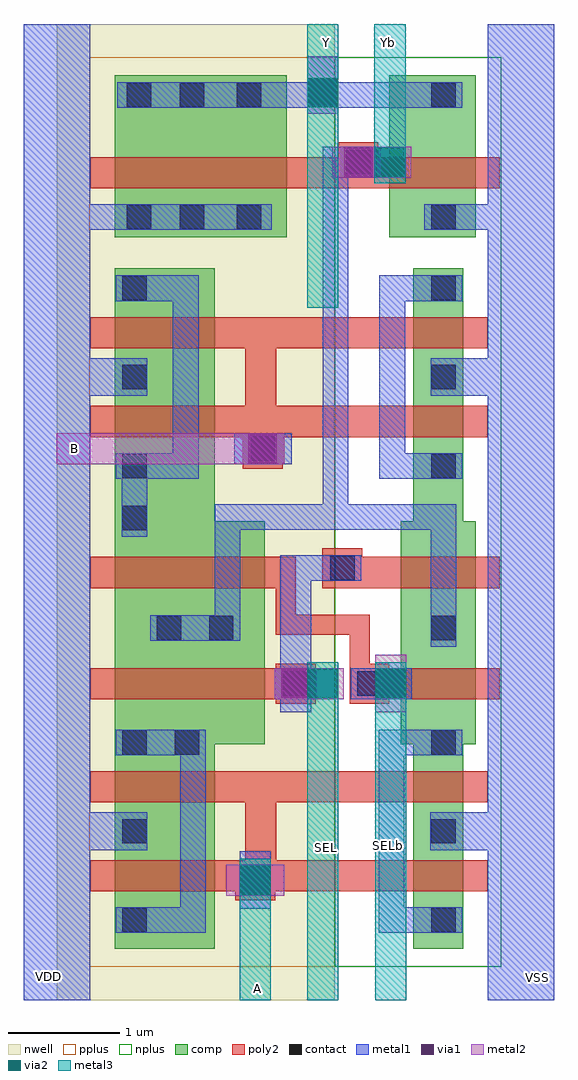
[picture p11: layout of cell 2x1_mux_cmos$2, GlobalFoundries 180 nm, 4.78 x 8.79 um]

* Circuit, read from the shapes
.subckt 2x1_mux_cmos$2 A B SEL SELb VDD VSS Y Yb
XM1 Y Yb VSS VSUBS nfet_03v3 w=0.775u l=0.28u
XM2 Yb SELb n1 VSUBS nfet_03v3 w=0.675u l=0.28u
XM3 n2 SEL Yb VSUBS nfet_03v3 w=0.675u l=0.28u
XM4 VSS A n1 VSUBS nfet_03v3 w=0.45u l=0.28u m=2
XM5 VSS B n2 VSUBS nfet_03v3 w=0.45u l=0.28u m=2
XM6 VDD A n3 n4 pfet_03v3 w=0.9u l=0.28u m=2
XM7 Yb SEL n3 n4 pfet_03v3 w=1.35u l=0.28u
XM8 n5 SELb Yb n4 pfet_03v3 w=1.35u l=0.28u
XM9 VDD B n5 n4 pfet_03v3 w=0.9u l=0.28u m=2
XM10 Y Yb VDD n4 pfet_03v3 w=1.55u l=0.28u
.ends

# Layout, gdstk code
import gdstk
lib = gdstk.Library(unit=1e-6, precision=5e-09)
def R(c, l, rs):  # rectangles x0, y0, x1, y1
    for r in rs: c.add(gdstk.rectangle(r[:2], r[2:], *l))
def A(c, l, x, y, w, h, nx, ny, dx, dy):  # array of equal rectangles
    R(c, l, [(x+i*dx, y+j*dy, x+i*dx+w, y+j*dy+h) for i in range(nx) for j in range(ny)])
nwell = (21, 0)
comp = (22, 0)
poly2 = (30, 0)
pplus = (31, 0)
nplus = (32, 0)
contact = (33, 0)
metal1 = (34, 0)
via1 = (35, 0)
metal2 = (36, 0)
via2 = (38, 0)
metal3 = (42, 0)

c_2x1_mux_cmos_2 = lib.new_cell('2x1_mux_cmos$2')
R(c_2x1_mux_cmos_2, nwell, [(-9.945,-39.115,-7.445,-30.325)])
R(c_2x1_mux_cmos_2, comp, [(-9.425,-38.655,-8.525,-32.525), (-6.735,-38.655,-6.285,-32.525), (-9.425,-36.81,-8.075,-34.805), (-6.85,-36.81,-6.175,-34.805), (-9.425,-32.245,-7.875,-30.785), (-6.95,-32.245,-6.175,-30.785)])
R(c_2x1_mux_cmos_2, poly2, [(-8.34,-38.215,-7.98,-37.855), (-9.645,-38.135,-6.065,-37.855), (-8.25,-37.855,-7.97,-37.335), (-9.645,-37.335,-6.065,-37.055), (-7.975,-36.445,-7.615,-36.085), (-7.31,-36.445,-6.95,-36.085), (-9.645,-36.405,-7.975,-36.125), (-6.95,-36.405,-5.955,-36.125), (-7.31,-36.085,-7.13,-35.825), (-7.975,-35.825,-7.13,-35.645), (-7.975,-35.645,-7.795,-35.405), (-9.645,-35.405,-7.795,-35.125), (-7.555,-35.405,-7.195,-35.045), (-7.195,-35.405,-5.955,-35.125), (-8.27,-34.33,-7.91,-33.97), (-9.645,-34.045,-6.065,-33.765), (-8.25,-33.765,-7.97,-33.245), (-9.645,-33.245,-6.065,-32.965), (-9.645,-31.805,-5.955,-31.525), (-7.41,-31.75,-7.05,-31.39)])
R(c_2x1_mux_cmos_2, pplus, [(-9.655,-38.815,-7.445,-30.625)])
R(c_2x1_mux_cmos_2, nplus, [(-7.445,-38.815,-5.945,-30.625)])
A(c_2x1_mux_cmos_2, contact, -9.355, -38.505, 0.22, 0.22, 1, 3, 0, 0.8)
A(c_2x1_mux_cmos_2, contact, -6.575, -38.505, 0.22, 0.22, 1, 3, 0, 0.8)
A(c_2x1_mux_cmos_2, contact, -9.355, -34.415, 0.22, 0.22, 1, 3, 0, 0.8)
A(c_2x1_mux_cmos_2, contact, -6.575, -34.415, 0.22, 0.22, 1, 3, 0, 0.8)
R(c_2x1_mux_cmos_2, contact, [(-8.27,-38.145,-8.05,-37.925), (-8.885,-36.905,-8.665,-36.685), (-7.905,-36.375,-7.685,-36.155), (-7.24,-36.375,-7.02,-36.155), (-9.045,-35.875,-8.825,-35.655), (-8.575,-35.875,-8.355,-35.655), (-6.575,-35.875,-6.355,-35.655), (-7.485,-35.335,-7.265,-35.115), (-9.355,-34.885,-9.135,-34.665), (-8.2,-34.26,-7.98,-34.04), (-9.315,-32.175,-9.095,-31.955), (-8.84,-32.175,-8.62,-31.955), (-8.325,-32.175,-8.105,-31.955), (-6.575,-32.175,-6.355,-31.955), (-7.34,-31.68,-7.12,-31.46), (-9.315,-31.075,-9.095,-30.855), (-8.84,-31.075,-8.62,-30.855), (-8.325,-31.075,-8.105,-30.855), (-6.575,-31.075,-6.355,-30.855)])
R(c_2x1_mux_cmos_2, metal1, [(-10.245,-39.115,-9.645,-30.325), (-6.065,-39.115,-5.465,-30.325), (-9.415,-38.51,-8.835,-38.28), (-8.835,-38.51,-8.605,-36.68), (-7.045,-38.51,-6.815,-36.68), (-6.815,-38.51,-6.295,-38.28), (-8.3,-38.295,-8.02,-37.775), (-9.645,-37.765,-9.13,-37.425), (-6.585,-37.765,-6.065,-37.425), (-9.415,-36.91,-8.835,-36.68), (-6.815,-36.91,-6.295,-36.68), (-7.935,-36.525,-7.655,-35.11), (-7.985,-36.405,-7.605,-36.125), (-7.3,-36.405,-6.75,-36.125), (-6.58,-35.935,-6.35,-34.65), (-9.105,-35.88,-8.295,-35.65), (-8.525,-35.65,-8.295,-34.65), (-7.655,-35.34,-7.205,-35.11), (-9.36,-34.945,-9.13,-34.42), (-8.525,-34.88,-6.58,-34.65), (-7.55,-34.65,-7.32,-31.71), (-9.415,-34.42,-8.9,-34.19), (-8.9,-34.42,-8.67,-32.59), (-7.04,-34.42,-6.81,-32.59), (-6.81,-34.42,-6.295,-34.19), (-8.35,-34.29,-7.83,-34.01), (-9.645,-33.675,-9.13,-33.335), (-6.58,-33.675,-6.065,-33.335), (-9.415,-32.82,-8.9,-32.59), (-6.81,-32.82,-6.295,-32.59), (-9.645,-32.18,-8.01,-31.95), (-6.635,-32.18,-6.065,-31.95), (-7.55,-31.71,-7.03,-31.43), (-7.32,-31.685,-7.09,-31.455), (-7.69,-31.135,-7.41,-30.615), (-9.4,-31.08,-6.295,-30.85)])
R(c_2x1_mux_cmos_2, via1, [(-8.29,-38.165,-8.03,-37.905), (-7.925,-36.395,-7.665,-36.135), (-7.07,-36.395,-6.81,-36.135), (-8.22,-34.28,-7.96,-34.02), (-7.36,-31.7,-7.1,-31.44), (-7.68,-31.075,-7.42,-30.815)])
R(c_2x1_mux_cmos_2, metal2, [(-8.42,-38.175,-7.9,-37.895), (-7.08,-36.525,-6.8,-36.005), (-7.985,-36.405,-7.36,-36.125), (-9.945,-34.29,-7.9,-34.01), (-7.465,-31.71,-6.755,-31.43), (-7.69,-31.135,-7.41,-30.615)])
R(c_2x1_mux_cmos_2, via2, [(-8.29,-38.165,-8.03,-37.905), (-7.68,-36.395,-7.42,-36.135), (-7.07,-36.395,-6.81,-36.135), (-7.075,-31.7,-6.815,-31.44), (-7.68,-31.075,-7.42,-30.815)])
R(c_2x1_mux_cmos_2, metal3, [(-8.3,-39.115,-8.02,-37.845), (-7.69,-39.115,-7.41,-36.075), (-7.08,-39.115,-6.8,-36.075), (-7.69,-32.88,-7.41,-30.325), (-7.085,-31.76,-6.805,-30.325)])
c_2x1_mux_cmos_2.add(gdstk.Label('Yb', (-6.955,-30.495), layer=42, texttype=10))
c_2x1_mux_cmos_2.add(gdstk.Label('Y', (-7.52,-30.495), layer=42, texttype=10))
c_2x1_mux_cmos_2.add(gdstk.Label('A', (-8.135,-39.015), layer=42, texttype=10))
c_2x1_mux_cmos_2.add(gdstk.Label('SEL', (-7.52,-37.74), layer=42, texttype=10))
c_2x1_mux_cmos_2.add(gdstk.Label('SELb', (-6.955,-37.725), layer=42, texttype=10))
c_2x1_mux_cmos_2.add(gdstk.Label('VDD', (-10.02,-38.9), layer=34, texttype=10))
c_2x1_mux_cmos_2.add(gdstk.Label('VSS', (-5.62,-38.91), layer=34, texttype=10))
c_2x1_mux_cmos_2.add(gdstk.Label('B', (-9.785,-34.15), layer=36, texttype=10))

lib.write_gds('2x1_mux_cmos_2.gds')
